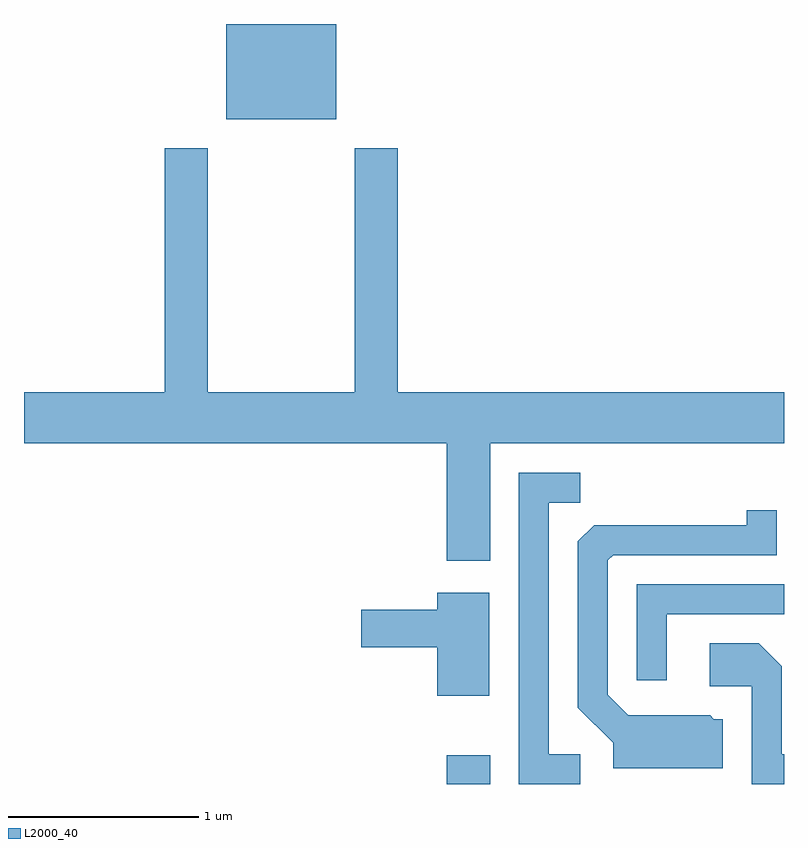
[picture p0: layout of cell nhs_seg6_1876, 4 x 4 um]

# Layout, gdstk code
import gdstk
lib = gdstk.Library(unit=1e-6, precision=1e-09)
def R(c, l, rs):  # rectangles x0, y0, x1, y1
    for r in rs: c.add(gdstk.rectangle(r[:2], r[2:], *l))
def P(c, l, *ps):  # polygons
    for p in ps: c.add(gdstk.Polygon(p, *l))
L2000_40 = (2000, 40)

nhs_seg6_1876 = lib.new_cell('nhs_seg6_1876')
R(nhs_seg6_1876, L2000_40, [(243.836,1628.162,244.064,1628.314), (242.676,1631.661,243.254,1632.162)])
P(nhs_seg6_1876, L2000_40, [(244.064,1629.956),(245.611,1629.956),(245.611,1630.224),(243.579,1630.224),(243.579,1631.509),(243.351,1631.509),(243.351,1630.224),(242.579,1630.224),(242.579,1631.509),(242.351,1631.509),(242.351,1630.224),(241.611,1630.224),(241.611,1629.956),(243.836,1629.956),(243.836,1629.336),(244.064,1629.336)],
  [(244.538,1628.319),(244.374,1628.319),(244.374,1629.641),(244.538,1629.641),(244.538,1629.799),(244.216,1629.799),(244.216,1628.162),(244.538,1628.162)],
  [(245.289,1628.504),(245.242,1628.504),(245.222,1628.524),(244.792,1628.524),(244.684,1628.632),(244.684,1629.339),(244.712,1629.366),(245.574,1629.366),(245.574,1629.603),(245.416,1629.603),(245.416,1629.524),(244.612,1629.524),(244.526,1629.439),(244.526,1628.564),(244.711,1628.379),(244.711,1628.246),(245.289,1628.246)],
  [(244.994,1629.056),(245.611,1629.056),(245.611,1629.214),(244.836,1629.214),(244.836,1628.708),(244.994,1628.708)],
  [(244.059,1629.169),(243.786,1629.169),(243.786,1629.079),(243.386,1629.079),(243.386,1628.881),(243.786,1628.881),(243.786,1628.626),(244.059,1628.626)],
  [(245.611,1628.319),(245.599,1628.319),(245.599,1628.782),(245.477,1628.904),(245.221,1628.904),(245.221,1628.676),(245.441,1628.676),(245.441,1628.162),(245.611,1628.162)])

lib.write_gds('nhs_seg6_1876.gds')
